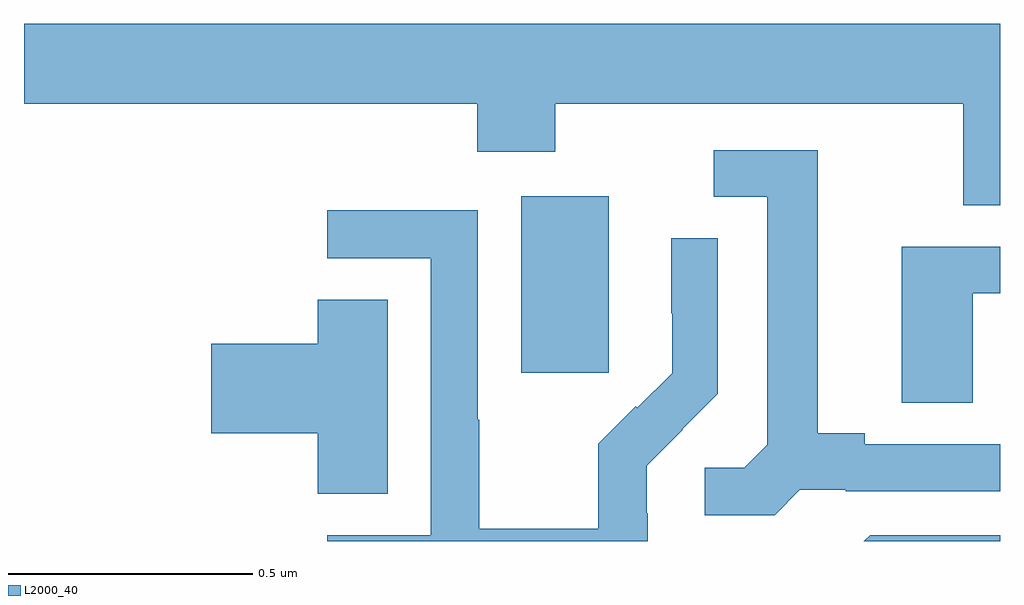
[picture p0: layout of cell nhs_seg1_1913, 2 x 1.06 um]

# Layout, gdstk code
import gdstk
lib = gdstk.Library(unit=1e-6, precision=1e-09)
def R(c, l, rs):  # rectangles x0, y0, x1, y1
    for r in rs: c.add(gdstk.rectangle(r[:2], r[2:], *l))
def P(c, l, *ps):  # polygons
    for p in ps: c.add(gdstk.Polygon(p, *l))
L2000_40 = (2000, 40)

nhs_seg1_1913 = lib.new_cell('nhs_seg1_1913')
R(nhs_seg1_1913, L2000_40, [(136.019,520.545,136.198,520.906)])
P(nhs_seg1_1913, L2000_40, [(137,521.26),(135,521.26),(135,521.096),(135.929,521.096),(135.929,520.997),(136.089,520.997),(136.089,521.096),(136.925,521.096),(136.925,520.888),(137,520.888)],
  [(136.59,520.305),(136.684,520.305),(136.684,520.302),(137,520.302),(137,520.398),(136.723,520.398),(136.723,520.421),(136.627,520.421),(136.627,521.001),(136.413,521.001),(136.413,520.905),(136.523,520.905),(136.523,520.397),(136.476,520.35),(136.395,520.35),(136.395,520.253),(136.538,520.253)],
  [(136.278,520.257),(136.276,520.257),(136.276,520.354),(136.35,520.428),(136.349,520.429),(136.422,520.502),(136.422,520.82),(136.326,520.82),(136.326,520.666),(136.328,520.666),(136.328,520.544),(136.257,520.473),(136.254,520.476),(136.177,520.399),(136.177,520.225),(135.933,520.225),(135.933,520.448),(135.93,520.448),(135.93,520.878),(135.621,520.878),(135.621,520.779),(135.834,520.779),(135.834,520.212),(135.621,520.212),(135.621,520.199),(136.278,520.199)],
  [(136.944,520.707),(137,520.707),(137,520.803),(136.799,520.803),(136.799,520.483),(136.944,520.483)],
  [(135.745,520.694),(135.602,520.694),(135.602,520.604),(135.384,520.604),(135.384,520.421),(135.602,520.421),(135.602,520.297),(135.745,520.297)],
  [(137,520.212),(136.734,520.212),(136.721,520.199),(137,520.199)])

lib.write_gds('nhs_seg1_1913.gds')
